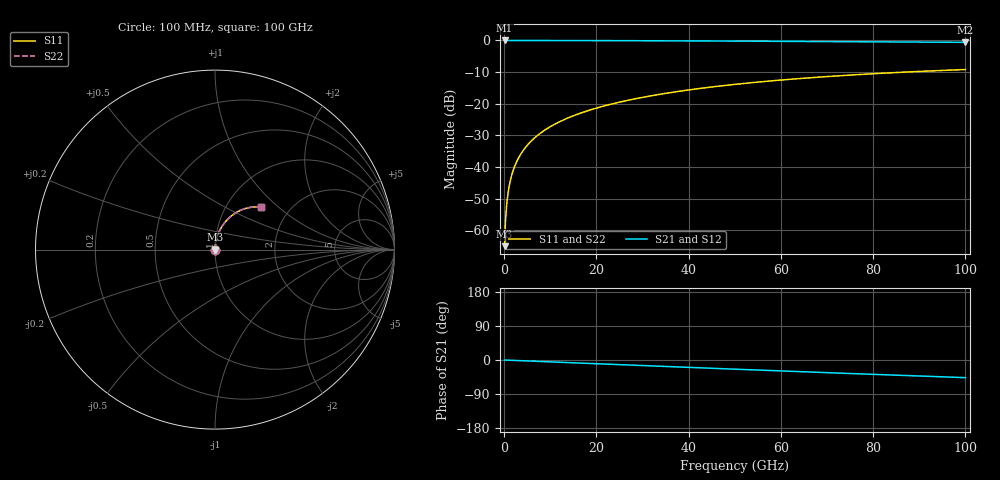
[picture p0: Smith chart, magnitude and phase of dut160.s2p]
! Touchstone file exported from HFSS 2026.1.0
!  File:  C:/ffzhzh/LocalFiles/Ansys_Project_Files/temp_train_TSV_160_1783506763_31944.aedt
!  Generated:  06:34:01 PM Jul  8, 2026
!  Design:  TSV
!  Project:  temp_train_TSV_160_1783506763_31944
! Variables:
!  h_bsmrdl = 2um
!  h_ox = 20um
!  h_rdl = 5um
!  h_sub = 81.51um
!  h_tmrdl = 5um
!  h_tsv = 81.51um
!  h_via = 3um
!  l_bsmrdl = 300um
!  l_sub = 411.7um
!  l_tmrdl = 200um
!  m_sub = 200um
!  pitch = 52.77um
!  r_tsv = 5.85um
!  s_tmrdl = 10um
!  w_bsmrdl = 18um
!  w_sub = 500um
!  w_tmrdl = 12um
!  x_tsv_center1 = 206um
!  x_tsv_center2 = 524um
!  x_tsv_center3 = 736um
!  x_tsv_center4 = 1054um
!  x_tsv_center5 = 1266um
!  x_tsv_center6 = 1584um
# GHz S MA R 50.000000
! Terminal data exported
! Port[1] = TSV1_1_T1
! Port[2] = TSV1_1_T2
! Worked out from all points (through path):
!   1000 points, 100 MHz to 100 GHz, reference 50 ohm
!   highest |S21| = 0.00 dB at 100 MHz (marker M1); lowest = -0.6 dB at 100 GHz (marker M2)
!   group delay of S21, straight-line fit = 1.3 ps
!   lowest |S11| = -65.0 dB at 100 MHz (marker M3), VSWR 1.00, Z = 50 + j0.0473 ohm
!   |S11| at or under -10 dB: start of sweep to 86.86 GHz
!   |S22| runs from -65.0 to -9.2 dB; largest |S21 - S12| = 4.3e-15
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0.1  0.0005621 57.2  0.9997 -0.1  0.9997 -0.1  0.0005621 57.2
! Gamma 0 0 0 0
! Port Impedance 50 0 50 0
0.4  0.001878 79.4  0.9997 -0.2  0.9997 -0.2  0.001878 79.4
0.7  0.003229 83.1  0.9996 -0.4  0.9996 -0.4  0.003229 83.1
0.8  0.00368 83.7  0.9996 -0.4  0.9996 -0.4  0.00368 83.7
1  0.004582 84.4  0.9996 -0.5  0.9996 -0.5  0.004582 84.4
1.3  0.005929 85.0  0.9995 -0.7  0.9995 -0.7  0.005929 85.0
1.7  0.007714 85.4  0.9995 -0.9  0.9995 -0.9  0.007714 85.4
2.3  0.01036 85.5  0.9993 -1.2  0.9993 -1.2  0.01036 85.5
3  0.01342 85.4  0.9992 -1.5  0.9992 -1.5  0.01342 85.4
3.8  0.01689 85.3  0.999 -1.9  0.999 -1.9  0.01689 85.3
4.8  0.02119 85.1  0.9988 -2.4  0.9988 -2.4  0.02119 85.1
6  0.02634 84.7  0.9986 -3.0  0.9986 -3.0  0.02634 84.7
8.8  0.0383 83.7  0.998 -4.4  0.998 -4.4  0.0383 83.7
12.4  0.05358 82.2  0.9971 -6.1  0.9971 -6.1  0.05358 82.2
16.8  0.07207 80.3  0.9957 -8.3  0.9957 -8.3  0.07207 80.3
24.2  0.1027 76.9  0.9926 -11.9  0.9926 -11.9  0.1027 76.9
33.4  0.1396 72.7  0.9878 -16.3  0.9878 -16.3  0.1396 72.7
41.2  0.1697 69.0  0.9828 -20.1  0.9828 -20.1  0.1697 69.0
50.1  0.2025 64.9  0.9764 -24.3  0.9764 -24.3  0.2025 64.9
66.7  0.2585 57.4  0.9628 -31.9  0.9628 -31.9  0.2585 57.4
83.4  0.3072 50.0  0.9481 -39.4  0.9481 -39.4  0.3072 50.0
100  0.3472 42.9  0.934 -46.6  0.934 -46.6  0.3472 42.9
